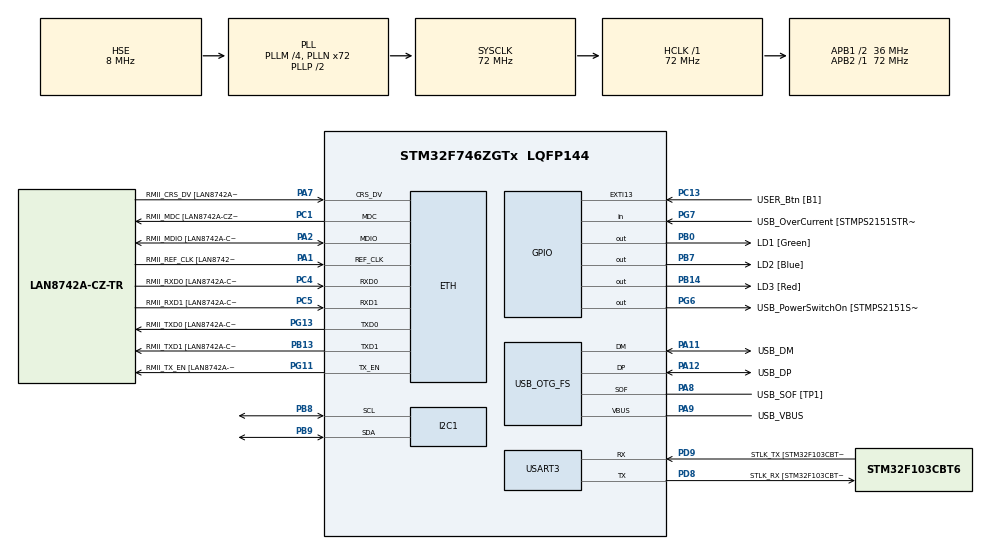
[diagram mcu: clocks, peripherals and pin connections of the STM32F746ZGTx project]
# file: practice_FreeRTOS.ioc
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CORTEX_M7.default_mode_Activation=1
ETH.MediaInterface=HAL_ETH_RMII_MODE
ETH.PHY_Name=LAN8742A_PHY_ADDRESS
ETH.PHY_Value=0
ETH.PhyAddress=0
FREERTOS.Tasks01=defaultTask,0,256,StartDefaultTask,Default,NULL,Dynamic,NULL,NULL;LDTask01,0,256,StartTask01,Default,NULL,Dynamic,NULL,NULL;LDTask02,0,256,StartTask02,Default,NULL,Dynamic,NULL,NULL;LDTask03,0,256,StartTask03,Default,NULL,Dynamic,NULL,NULL
FREERTOS.configUSE_NEWLIB_REENTRANT=1
I2C1.Timing=0x00808CD2
Mcu.Family=STM32F7
Mcu.Name=STM32F746ZGTx
Mcu.Package=LQFP144
NVIC.PriorityGroup=NVIC_PRIORITYGROUP_4
NVIC.TIM1_UP_TIM10_IRQn=true\:15\:0\:false\:false\:true\:false\:false\:true\:true
NVIC.TimeBase=TIM1_UP_TIM10_IRQn
NVIC.TimeBaseIP=TIM1
PA1.GPIO_Label=RMII_REF_CLK [LAN8742A-CZ-TR_REFCLK0]
PA1.Mode=RMII
PA1.Signal=ETH_REF_CLK
PA10.GPIO_Label=USB_ID
PA10.Signal=USB_OTG_FS_ID
PA11.GPIO_Label=USB_DM
PA11.Mode=Device_Only
PA11.Signal=USB_OTG_FS_DM
PA12.GPIO_Label=USB_DP
PA12.Mode=Device_Only
PA12.Signal=USB_OTG_FS_DP
PA13.GPIO_Label=TMS
PA13.Mode=Serial_Wire
PA13.Signal=SYS_JTMS-SWDIO
PA14.GPIO_Label=TCK
PA14.Mode=Serial_Wire
PA14.Signal=SYS_JTCK-SWCLK
PA2.GPIO_Label=RMII_MDIO [LAN8742A-CZ-TR_MDIO]
PA2.Mode=RMII
PA2.Signal=ETH_MDIO
PA7.GPIO_Label=RMII_CRS_DV [LAN8742A-CZ-TR_CRS_DV]
PA7.Mode=RMII
PA7.Signal=ETH_CRS_DV
PA8.GPIO_Label=USB_SOF [TP1]
PA8.Mode=Activate_SOF_FS
PA8.Signal=USB_OTG_FS_SOF
PA9.GPIO_Label=USB_VBUS
PA9.Mode=Activate_VBUS
PA9.Signal=USB_OTG_FS_VBUS
PB0.GPIO_Label=LD1 [Green]
PB0.Signal=GPIO_Output
PB13.GPIO_Label=RMII_TXD1 [LAN8742A-CZ-TR_TXD1]
PB13.Mode=RMII
PB13.Signal=ETH_TXD1
PB14.GPIO_Label=LD3 [Red]
PB14.Signal=GPIO_Output
PB3.GPIO_Label=SW0
PB3.Signal=SYS_JTDO-SWO
PB7.GPIO_Label=LD2 [Blue]
PB7.Signal=GPIO_Output
PB8.Mode=I2C
PB8.Signal=I2C1_SCL
PB9.Mode=I2C
PB9.Signal=I2C1_SDA
PC1.GPIO_Label=RMII_MDC [LAN8742A-CZ-TR_MDC]
PC1.Mode=RMII
PC1.Signal=ETH_MDC
PC13.GPIO_Label=USER_Btn [B1]
PC13.Signal=GPXTI13
PC14/OSC32_IN.Mode=LSE-External-Oscillator
PC14/OSC32_IN.Signal=RCC_OSC32_IN
PC15/OSC32_OUT.Mode=LSE-External-Oscillator
PC15/OSC32_OUT.Signal=RCC_OSC32_OUT
PC4.GPIO_Label=RMII_RXD0 [LAN8742A-CZ-TR_RXD0]
PC4.Mode=RMII
PC4.Signal=ETH_RXD0
PC5.GPIO_Label=RMII_RXD1 [LAN8742A-CZ-TR_RXD1]
PC5.Mode=RMII
PC5.Signal=ETH_RXD1
PD8.GPIO_Label=STLK_RX [STM32F103CBT6_PA3]
PD8.GPIO_PuPd=GPIO_PULLUP
PD8.Mode=Asynchronous
PD8.Signal=USART3_TX
PD9.GPIO_Label=STLK_TX [STM32F103CBT6_PA2]
PD9.GPIO_PuPd=GPIO_PULLUP
PD9.Mode=Asynchronous
PD9.Signal=USART3_RX
PG11.GPIO_Label=RMII_TX_EN [LAN8742A-CZ-TR_TXEN]
PG11.Mode=RMII
PG11.Signal=ETH_TX_EN
PG13.GPIO_Label=RMII_TXD0 [LAN8742A-CZ-TR_TXD0]
PG13.Mode=RMII
PG13.Signal=ETH_TXD0
PG6.GPIO_Label=USB_PowerSwitchOn [STMPS2151STR_EN]
PG6.Signal=GPIO_Output
PG7.GPIO_Label=USB_OverCurrent [STMPS2151STR_FAULT]
PG7.Signal=GPIO_Input
PH0/OSC_IN.GPIO_Label=MCO [STM32F103CBT6_PA8]
PH0/OSC_IN.Mode=HSE-External-Clock-Source
PH0/OSC_IN.Signal=RCC_OSC_IN
PH1/OSC_OUT.Mode=HSE-External-Clock-Source
PH1/OSC_OUT.Signal=RCC_OSC_OUT
ProjectManager.HeapSize=0x200
ProjectManager.StackSize=0x400
ProjectManager.TargetToolchain=STM32CubeIDE
RCC.48MHZClocksFreq_Value=24000000
RCC.AHBFreq_Value=72000000
RCC.APB1CLKDivider=RCC_HCLK_DIV2
RCC.APB1Freq_Value=36000000
RCC.APB1TimFreq_Value=72000000
RCC.APB2Freq_Value=72000000
RCC.APB2TimFreq_Value=72000000
RCC.CortexFreq_Value=72000000
RCC.HCLKFreq_Value=72000000
RCC.HSE_VALUE=8000000
RCC.HSI_VALUE=16000000
RCC.PLLM=4
RCC.PLLMUL=RCC_PLL_MUL9
RCC.PLLN=72
RCC.PLLQ=3
RCC.PRESCALERUSB=RCC_USBCLKSOURCE_PLL_DIV1_5
RCC.SYSCLKFreq_VALUE=72000000
RCC.SYSCLKSource=RCC_SYSCLKSOURCE_PLLCLK
RCC.SYSCLKSourceVirtual=RCC_SYSCLKSOURCE_PLLCLK
RCC.USBFreq_Value=48000000
RCC.VCOOutputFreq_Value=144000000
USART3.VirtualMode-Asynchronous=VM_ASYNC
USB_OTG_FS.VirtualMode=Device_Only
VP_FREERTOS_VS_CMSIS_V1.Mode=CMSIS_V1
VP_SYS_VS_tim1.Mode=TIM1
board=NUCLEO-F746ZG

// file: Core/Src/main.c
/* USER CODE BEGIN Header */
/**
  ******************************************************************************
  * @file           : main.c
  * @brief          : Main program body
  ******************************************************************************
  * @attention
  *
  * Copyright (c) 2026 STMicroelectronics.
  * All rights reserved.
  *
  * This software is licensed under terms that can be found in the LICENSE file
  * in the root directory of this software component.
  * If no LICENSE file comes with this software, it is provided AS-IS.
  *
  ******************************************************************************
  */
/* USER CODE END Header */
#include "main.h"
#include "cmsis_os.h"
#include "eth.h"
#include "i2c.h"
#include "usart.h"
#include "usb_otg.h"
#include "gpio.h"

/* USER CODE BEGIN Includes */
#include <stdio.h>
/* USER CODE END Includes */

/* USER CODE BEGIN PV */
uint8_t data[] = "Dragon Labs\n\r";
char cdcBuf[40];
uint16_t count = 0;
/* USER CODE END PV */

void SystemClock_Config(void);
static void MPU_Config(void);
void MX_FREERTOS_Init(void);

/* USER CODE BEGIN 0 */
int __io_putchar(int ch) {
    HAL_UART_Transmit(&huart3, (uint8_t *)&ch, 1, 100);
    return ch;
}
/* USER CODE END 0 */

int main(void)
{

  /* MPU Configuration--------------------------------------------------------*/
  MPU_Config();

  /* MCU Configuration--------------------------------------------------------*/

  /* Reset of all peripherals, Initializes the Flash interface and the Systick. */
  HAL_Init();

  /* Configure the system clock */
  SystemClock_Config();

  /* Initialize all configured peripherals */
  MX_GPIO_Init();
  MX_ETH_Init();
  MX_I2C1_Init();
  MX_USART3_UART_Init();
  MX_USB_OTG_FS_PCD_Init();

  /* Call init function for freertos objects (in cmsis_os2.c) */
  MX_FREERTOS_Init();

  /* Start scheduler */
  osKernelStart();

  /* We should never get here as control is now taken by the scheduler */

  /* Infinite loop */
   while (1)
  {

  }
}

void SystemClock_Config(void)
{
  RCC_OscInitTypeDef RCC_OscInitStruct = {0};
  RCC_ClkInitTypeDef RCC_ClkInitStruct = {0};

  /** Configure LSE Drive Capability
  */
  HAL_PWR_EnableBkUpAccess();

  /** Configure the main internal regulator output voltage
  */
  __HAL_RCC_PWR_CLK_ENABLE();
  __HAL_PWR_VOLTAGESCALING_CONFIG(PWR_REGULATOR_VOLTAGE_SCALE3);

  /** Initializes the RCC Oscillators according to the specified parameters
  * in the RCC_OscInitTypeDef structure.
  */
  RCC_OscInitStruct.OscillatorType = RCC_OSCILLATORTYPE_HSE;
  RCC_OscInitStruct.HSEState = RCC_HSE_BYPASS;
  RCC_OscInitStruct.PLL.PLLState = RCC_PLL_ON;
  RCC_OscInitStruct.PLL.PLLSource = RCC_PLLSOURCE_HSE;
  RCC_OscInitStruct.PLL.PLLM = 4;
  RCC_OscInitStruct.PLL.PLLN = 72;
  RCC_OscInitStruct.PLL.PLLP = RCC_PLLP_DIV2;
  RCC_OscInitStruct.PLL.PLLQ = 3;
  if (HAL_RCC_OscConfig(&RCC_OscInitStruct) != HAL_OK)
  {
    Error_Handler();
  }

  /** Initializes the CPU, AHB and APB buses clocks
  */
  RCC_ClkInitStruct.ClockType = RCC_CLOCKTYPE_HCLK|RCC_CLOCKTYPE_SYSCLK
                              |RCC_CLOCKTYPE_PCLK1|RCC_CLOCKTYPE_PCLK2;
  RCC_ClkInitStruct.SYSCLKSource = RCC_SYSCLKSOURCE_PLLCLK;
  RCC_ClkInitStruct.AHBCLKDivider = RCC_SYSCLK_DIV1;
  RCC_ClkInitStruct.APB1CLKDivider = RCC_HCLK_DIV2;
  RCC_ClkInitStruct.APB2CLKDivider = RCC_HCLK_DIV1;

  if (HAL_RCC_ClockConfig(&RCC_ClkInitStruct, FLASH_LATENCY_2) != HAL_OK)
  {
    Error_Handler();
  }
}

 /* MPU Configuration */

void MPU_Config(void)
{
  MPU_Region_InitTypeDef MPU_InitStruct = {0};

  /* Disables the MPU */
  HAL_MPU_Disable();

  /** Initializes and configures the Region and the memory to be protected
  */
  MPU_InitStruct.Enable = MPU_REGION_ENABLE;
  MPU_InitStruct.Number = MPU_REGION_NUMBER0;
  MPU_InitStruct.BaseAddress = 0x0;
  MPU_InitStruct.Size = MPU_REGION_SIZE_4GB;
  MPU_InitStruct.SubRegionDisable = 0x87;
  MPU_InitStruct.TypeExtField = MPU_TEX_LEVEL0;
  MPU_InitStruct.AccessPermission = MPU_REGION_NO_ACCESS;
  MPU_InitStruct.DisableExec = MPU_INSTRUCTION_ACCESS_DISABLE;
  MPU_InitStruct.IsShareable = MPU_ACCESS_SHAREABLE;
  MPU_InitStruct.IsCacheable = MPU_ACCESS_NOT_CACHEABLE;
  MPU_InitStruct.IsBufferable = MPU_ACCESS_NOT_BUFFERABLE;

  HAL_MPU_ConfigRegion(&MPU_InitStruct);
  /* Enables the MPU */
  HAL_MPU_Enable(MPU_PRIVILEGED_DEFAULT);

}

void HAL_TIM_PeriodElapsedCallback(TIM_HandleTypeDef *htim)
{
  if (htim->Instance == TIM1)
  {
    HAL_IncTick();
  }
}

void Error_Handler(void)
{
  __disable_irq();
  while (1)
  {
  }
}

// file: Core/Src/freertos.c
/* USER CODE BEGIN Header */
/**
  ******************************************************************************
  * File Name          : freertos.c
  * Description        : Code for freertos applications
  ******************************************************************************
  ******************************************************************************
  * @attention
  *
  * Copyright (c) 2026 STMicroelectronics.
  * All rights reserved.
  *
  * This software is licensed under terms that can be found in the LICENSE file
  * in the root directory of this software component.
  * If no LICENSE file comes with this software, it is provided AS-IS.
  *
  ******************************************************************************
  */
/* USER CODE END Header */

#include "FreeRTOS.h"
#include "task.h"
#include "main.h"
#include "cmsis_os.h"

osThreadId defaultTaskHandle;
osThreadId LDTask01Handle;
osThreadId LDTask02Handle;
osThreadId LDTask03Handle;

void StartDefaultTask(void const * argument);
void StartTask01(void const * argument);
void StartTask02(void const * argument);
void StartTask03(void const * argument);

void MX_FREERTOS_Init(void); /* (MISRA C 2004 rule 8.1) */

/* GetIdleTaskMemory prototype (linked to static allocation support) */
void vApplicationGetIdleTaskMemory( StaticTask_t **ppxIdleTaskTCBBuffer, StackType_t **ppxIdleTaskStackBuffer, uint32_t *pulIdleTaskStackSize );

/* USER CODE BEGIN GET_IDLE_TASK_MEMORY */
static StaticTask_t xIdleTaskTCBBuffer;
static StackType_t xIdleStack[configMINIMAL_STACK_SIZE];

void vApplicationGetIdleTaskMemory( StaticTask_t **ppxIdleTaskTCBBuffer, StackType_t **ppxIdleTaskStackBuffer, uint32_t *pulIdleTaskStackSize )
{
  *ppxIdleTaskTCBBuffer = &xIdleTaskTCBBuffer;
  *ppxIdleTaskStackBuffer = &xIdleStack[0];
  *pulIdleTaskStackSize = configMINIMAL_STACK_SIZE;
  /* place for user code */
}
/* USER CODE END GET_IDLE_TASK_MEMORY */

void MX_FREERTOS_Init(void) {

  /* Create the thread(s) */
  /* definition and creation of defaultTask */
  osThreadDef(defaultTask, StartDefaultTask, osPriorityNormal, 0, 256);
  defaultTaskHandle = osThreadCreate(osThread(defaultTask), NULL);

  /* definition and creation of LDTask01 */
  osThreadDef(LDTask01, StartTask01, osPriorityNormal, 0, 256);
  LDTask01Handle = osThreadCreate(osThread(LDTask01), NULL);

  /* definition and creation of LDTask02 */
  osThreadDef(LDTask02, StartTask02, osPriorityNormal, 0, 256);
  LDTask02Handle = osThreadCreate(osThread(LDTask02), NULL);

  /* definition and creation of LDTask03 */
  osThreadDef(LDTask03, StartTask03, osPriorityNormal, 0, 256);
  LDTask03Handle = osThreadCreate(osThread(LDTask03), NULL);

}

void StartDefaultTask(void const * argument)
{
  for(;;)
  {
    osDelay(1);
  }
}

void StartTask01(void const * argument)
{
  /* USER CODE BEGIN StartTask01 */
  /* Infinite loop */
  for(;;)
  {
	  HAL_GPIO_TogglePin(LD1_GPIO_Port, LD1_Pin);
	  printf("RTOS=0.1\n");
	  osDelay(100);
  }
  /* USER CODE END StartTask01 */
}

void StartTask02(void const * argument)
{
  /* USER CODE BEGIN StartTask02 */
  /* Infinite loop */
  for(;;)
  {
	  HAL_GPIO_TogglePin(LD2_GPIO_Port, LD2_Pin);
	  printf("RTOS=0.2\n");
	  osDelay(200);
  }
  /* USER CODE END StartTask02 */
}

void StartTask03(void const * argument)
{
  /* USER CODE BEGIN StartTask03 */
  /* Infinite loop */
  for(;;)
  {
	  HAL_GPIO_TogglePin(LD3_GPIO_Port, LD3_Pin);
	  printf("RTOS=0.3\n");
	  osDelay(300);
  }
  /* USER CODE END StartTask03 */
}
